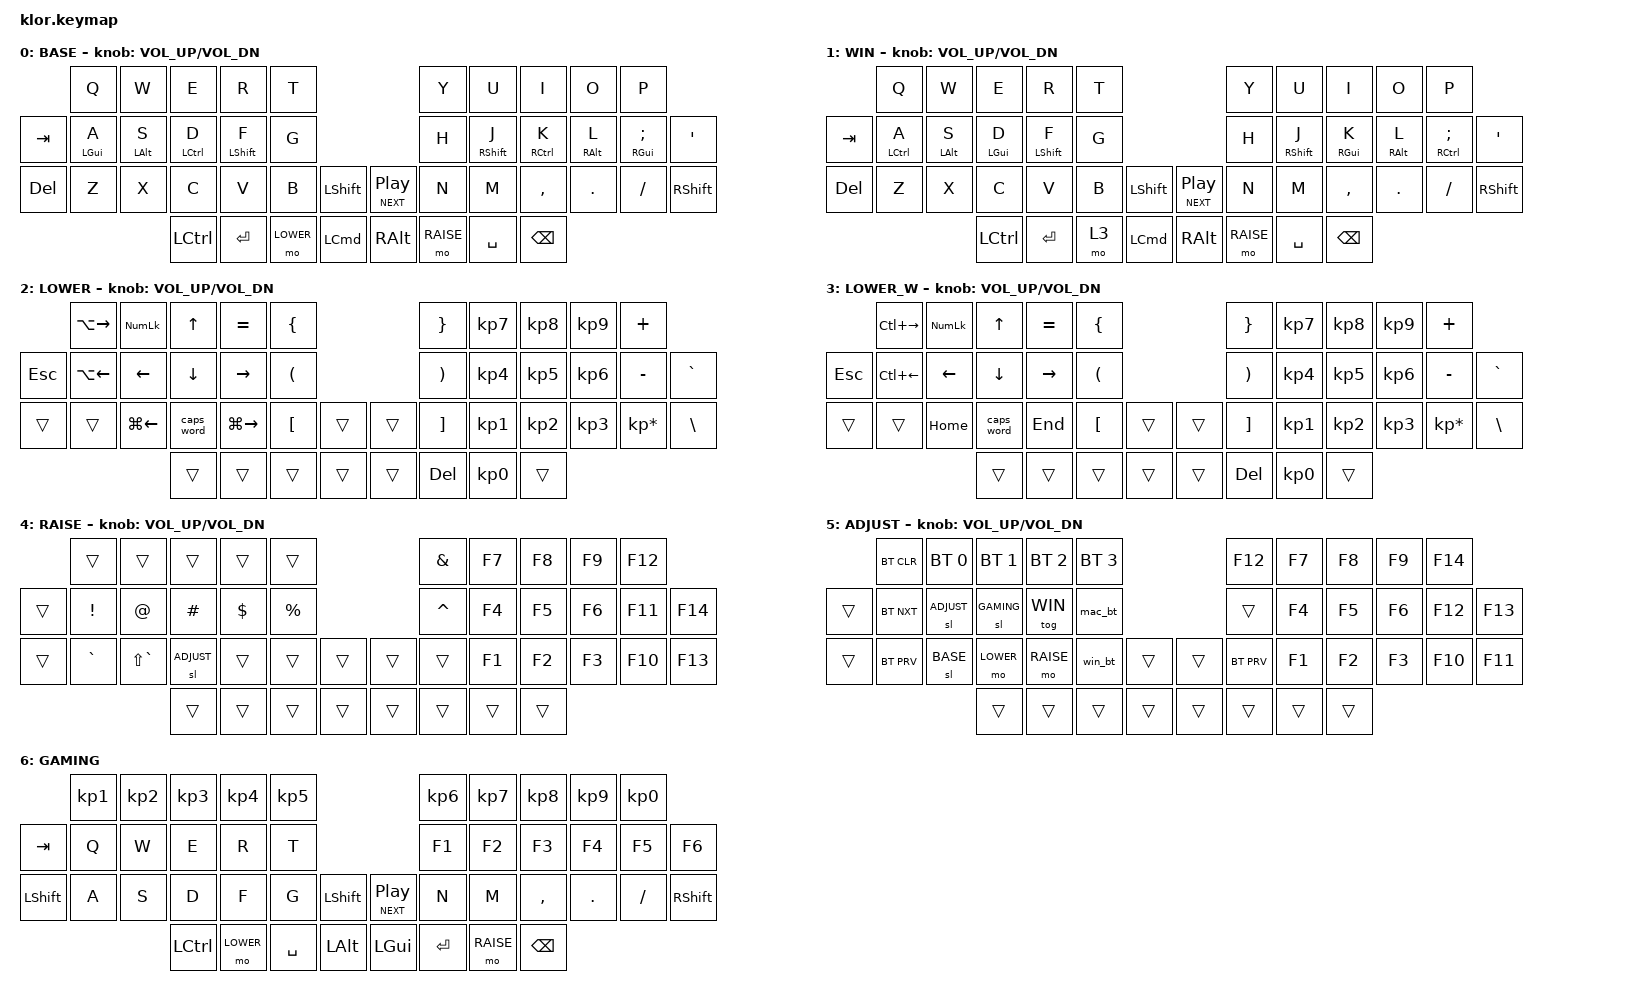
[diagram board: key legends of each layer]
//                               █         █    █            ▄▄▄▀▀▀▀▀▀▄▄▄        █▀▀▀▀▀▀▀▀▀▀█
//                               █        █     █          ▄▀            ▀▄      █          █
//                               █       █      █        ▄▀                ▀▄    █          █
//                               █      █       █        █                  █    █          █
//                               █     █        █       █                    █   █          █
//                               █    █         █       █                    █   █▄▄▄▄▄▄▄▄▄▄█
//                               █   █ █        █       █                    █   █      █
//                               █  █   █       █        █                  █    █       █
//                               █ █     █      █        ▀▄                ▄▀    █        █
//                               ██       █     █          ▀▄            ▄▀      █         █
//                               █         █    █▄▄▄▄▄▄▄▄    ▀▀▀▄▄▄▄▄▄▀▀▀        █          █
//
// ▄▄▄▄▄▄▄▄▄▄▄▄▄▄▄▄▄▄▄▄▄▄▄▄▄▄▄▄▄▄▄▄▄▄▄▄▄▄▄▄▄▄▄▄▄▄▄▄▄▄▄▄▄▄▄▄▄▄▄▄▄▄▄▄▄▄▄▄▄▄▄▄▄▄▄▄▄▄▄▄▄▄▄▄▄▄▄▄▄▄▄▄▄▄▄▄▄▄▄▄▄▄▄▄▄▄▄▄▄▄▄▄▄▄▄▄▄▄▄▄▄▄▄▄▄

#include <behaviors.dtsi>
#include <dt-bindings/zmk/bt.h>
#include <dt-bindings/zmk/keys.h>

#define BASE   0
#define WIN    1
#define LOWER  2
#define LOWERW 3
#define RAISE  4
#define ADJUST 5
#define GAMING 6

/ {
    macros {
        mac_bt: mac_bt {
            label = "mac_bt";
            compatible = "zmk,behavior-macro";
            #binding-cells = <0>;
            bindings =
                <&macro_tap>,
                <&bt BT_SEL 2>,
                <&macro_tap>,
                <&tog BASE>;
        };
        win_bt: win_bt {
            label = "win_bt";
            compatible = "zmk,behavior-macro";
            #binding-cells = <0>;
            bindings =
                <&macro_tap>,
                <&bt BT_SEL 1>,
                <&macro_tap>,
                <&tog WIN>;
        };
    };

    conditional_layers {
        compatible = "zmk,conditional-layers";

        tri_layer {
            if-layers = <LOWER RAISE>;
            then-layer = <ADJUST>;
        };

        triW_layer_ {
            if-layers = <LOWERW RAISE>;
            then-layer = <ADJUST>;
        };
    };

    behaviors {
        hm: homerow_mods {
            compatible = "zmk,behavior-hold-tap";
            label = "HOMEROW_MODS";
            #binding-cells = <2>;
            tapping-term-ms = <200>;
            quick_tap_ms = <0>;
            flavor = "tap-preferred";
            bindings =
                <&kp>,
                <&kp>;
        };
    };

    combos {
        compatible = "zmk,combos";

        combo_esc {
            timeout-ms = <50>;
            key-positions = <10 0>;
            bindings = <&kp ESC>;
        };

        combo_underscore {
            timeout-ms = <50>;
            bindings = <&kp UNDER>;
            key-positions = <23 24>;
        };

        combo_ae {
            bindings = <&kp RA(Q)>;
            key-positions = <0 1>;
        };

        combo_oe {
            bindings = <&kp RA(P)>;
            key-positions = <8 9>;
        };

        combo_ue {
            bindings = <&kp RA(Y)>;
            key-positions = <6 7>;
        };

        combo_ss {
            bindings = <&kp RA(S)>;
            key-positions = <24 25>;
        };
    };

    keymap {
        compatible = "zmk,keymap";

        // ▄▄▄▄▄▄▄▄▄▄▄▄▄▄▄▄▄▄▄▄▄▄▄▄▄▄▄▄▄▄▄▄▄▄▄▄▄▄▄▄▄▄▄▄▄▄▄▄▄▄▄▄▄▄▄▄▄▄▄▄▄▄▄▄▄▄▄▄▄▄▄▄▄▄▄▄▄▄▄▄▄▄▄▄▄▄▄▄▄▄▄▄▄▄▄▄▄▄▄▄▄▄▄▄▄▄▄▄▄▄▄▄▄▄▄▄▄▄▄▄▄▄▄▄▄▄▄▄▄▄▄▄▄▄▄▄▄▄▄▄▄▄

        base_layer {
            // ┌───────────────────────────────────────────────────────────┐

            label = "BASE";

            // └───────────────────────────────────────────────────────────┘
            /*
             ┌─────────┬─────────┬─────────┬─────────┬─────────┐                    ┌─────────┬─────────┬─────────┬─────────┬─────────┐
             │    Q    │    W    │    E    │    R    │    T    │                    │    Y    │    U    │    I    │    O    │    P    │
   ┌─────────┼─────────┼─────────┼─────────┼─────────┼─────────┤                    ├─────────┼─────────┼─────────┼─────────┼─────────┼─────────┐
   │   TAB   │    A    │    S    │    D    │    F    │    G    │                    │    H    │    J    │    K    │    L    │    ;    │    "    │
   ├─────────┼─────────┼─────────┼─────────┼─────────┼─────────┤╭────────╮╭────────╮├─────────┼─────────┼─────────┼─────────┼─────────┼─────────┤
   │   DEL   │    Z    │    X    │    C    │    V    │    B    ││  MUTE  ││PLY/PSE ││    N    │    M    │    ,    │    .    │    /    │  SHIFT  │
   └─────────┴─────────┴─────────┼─────────┼─────────┼─────────┼╰────────╯╰────────╯┼─────────┼─────────┼─────────┼─────────┴─────────┴─────────┘
                                 │  CTRL   │  LOWER  │  SPACE  │   ALT   ││ CMD/WIN │  ENTER  │  RAISE  │  BSPCE  │
                                 └─────────┴─────────┴─────────┴─────────┘└─────────┴─────────┴─────────┴─────────┘ */

            bindings = <
                  &kp Q           &kp W        &kp E        &kp R      &kp T                                         &kp Y        &kp U        &kp I            &kp O               &kp P
&kp TAB  &hm LEFT_GUI A  &hm LEFT_ALT S  &hm LCTRL D  &hm LSHFT F      &kp G                                         &kp H  &hm RSHFT J  &hm RCTRL K  &hm RIGHT_ALT L  &hm RIGHT_GUI SEMI    &kp SQT
&kp DEL           &kp Z           &kp X        &kp C        &kp V      &kp B        &kp LSHIFT  &hm C_NEXT C_PP      &kp N        &kp M    &kp COMMA          &kp DOT            &kp FSLH  &kp RSHFT
                                           &kp LCTRL    &kp ENTER  &mo LOWER  &kp LEFT_COMMAND         &kp RALT  &mo RAISE    &kp SPACE     &kp BSPC
            >;

            sensor-bindings = <&inc_dec_kp C_VOL_UP C_VOL_DN>;
        };

        // ▄▄▄▄▄▄▄▄▄▄▄▄▄▄▄▄▄▄▄▄▄▄▄▄▄▄▄▄▄▄▄▄▄▄▄▄▄▄▄▄▄▄▄▄▄▄▄▄▄▄▄▄▄▄▄▄▄▄▄▄▄▄▄▄▄▄▄▄▄▄▄▄▄▄▄▄▄▄▄▄▄▄▄▄▄▄▄▄▄▄▄▄▄▄▄▄▄▄▄▄▄▄▄▄▄▄▄▄▄▄▄▄▄▄▄▄▄▄▄▄▄▄▄▄▄▄▄▄▄▄▄▄▄▄▄▄▄▄▄▄▄▄

        win_layer {
            // ┌───────────────────────────────────────────────────────────┐

            label = "WIN";

            // └───────────────────────────────────────────────────────────┘
            /*
                     ┌─────────┬─────────┬─────────┬─────────┬─────────┐                    ┌─────────┬─────────┬─────────┬─────────┬─────────┐
                     │    Q    │    W    │    E    │    R    │    T    │                    │    Y    │    U    │    I    │    O    │    P    │
           ┌─────────┼─────────┼─────────┼─────────┼─────────┼─────────┤                    ├─────────┼─────────┼─────────┼─────────┼─────────┼─────────┐
           │   TAB   │    A    │    S    │    D    │    F    │    G    │                    │    H    │    J    │    K    │    L    │    ;    │    "    │
           ├─────────┼─────────┼─────────┼─────────┼─────────┼─────────┤╭────────╮╭────────╮├─────────┼─────────┼─────────┼─────────┼─────────┼─────────┤
           │   DEL   │    Z    │    X    │    C    │    V    │    B    ││  MUTE  ││PLY/PSE ││    N    │    M    │    ,    │    .    │    /    │  SHIFT  │
           └─────────┴─────────┴─────────┼─────────┼─────────┼─────────┼╰────────╯╰────────╯┼─────────┼─────────┼─────────┼─────────┴─────────┴─────────┘
                                         │  CTRL   │  LOWER  │  SPACE  │   ALT   ││ CMD/WIN │  ENTER  │  RAISE  │  BSPCE  │
                                         └─────────┴─────────┴─────────┴─────────┘└─────────┴─────────┴─────────┴─────────┘ */

            bindings = <
               &kp Q       &kp W       &kp E        &kp R  &kp T                                         &kp Y        &kp U       &kp I       &kp O           &kp P
&kp TAB  &hm LCTRL A  &hm LALT S  &hm LGUI D  &hm LSHFT F  &kp G                                         &kp H  &hm RSHFT J  &hm RGUI K  &hm RALT L  &hm RCTRL SEMI    &kp SQT
&kp DEL        &kp Z       &kp X       &kp C        &kp V  &kp B        &kp LSHIFT  &hm C_NEXT C_PP      &kp N        &kp M   &kp COMMA     &kp DOT        &kp FSLH  &kp RSHFT
                                   &kp LCTRL    &kp ENTER  &mo 3  &kp LEFT_COMMAND         &kp RALT  &mo RAISE    &kp SPACE    &kp BSPC
            >;

            sensor-bindings = <&inc_dec_kp C_VOL_UP C_VOL_DN>;
        };

        // ▄▄▄▄▄▄▄▄▄▄▄▄▄▄▄▄▄▄▄▄▄▄▄▄▄▄▄▄▄▄▄▄▄▄▄▄▄▄▄▄▄▄▄▄▄▄▄▄▄▄▄▄▄▄▄▄▄▄▄▄▄▄▄▄▄▄▄▄▄▄▄▄▄▄▄▄▄▄▄▄▄▄▄▄▄▄▄▄▄▄▄▄▄▄▄▄▄▄▄▄▄▄▄▄▄▄▄▄▄▄▄▄▄▄▄▄▄▄▄▄▄▄▄▄▄▄▄▄▄▄▄▄▄▄▄▄▄▄▄▄▄▄

        lower_layer {
            // ┌───────────────────────────────────────────────────────────┐

            label = "LOWER";

            // └───────────────────────────────────────────────────────────┘
            /*
             ┌─────────┬─────────┬─────────┬─────────┬─────────┐                    ┌─────────┬─────────┬─────────┬─────────┬─────────┐
             │  PG_UP  │ NUMLCK  │    UP   │    =    │    {    │                    │    }    │    7    │    8    │    9    │    +    │
   ┌─────────┼─────────┼─────────┼─────────┼─────────┼─────────┤                    ├─────────┼─────────┼─────────┼─────────┼─────────┼─────────┐
   │  ESC    │  PG_DN  │  LEFT   │  DOWN   │  RIGHT  │    [    │                    │    ]    │    4    │    5    │    6    │    -    │    `    │
   ├─────────┼─────────┼─────────┼─────────┼─────────┼─────────┤╭────────╮╭────────╮├─────────┼─────────┼─────────┼─────────┼─────────┼─────────┤
   │         │         │   BOL   │ C_WORD  │   EOL   │    (    ││        ││        ││    )    │    1    │    2    │    3    │    *    │    \    │
   └─────────┴─────────┴─────────┼─────────┼─────────┼─────────┼╰────────╯╰────────╯┼─────────┼─────────┼─────────┼─────────┴─────────┴─────────┘
                                 │         │         │         │         ││         │   DEL   │    0    │         │
                                 └─────────┴─────────┴─────────┴─────────┘└─────────┴─────────┴─────────┴─────────┘ */

            bindings = <
         &kp LA(RIGHT)  &kp KP_NUMLOCK      &kp UP      &kp EQUAL          &kp LBRC                           &kp RBRC  &kp KP_N7  &kp KP_N8  &kp KP_N9         &kp PLUS
&kp ESC   &kp LA(LEFT)        &kp LEFT    &kp DOWN      &kp RIGHT          &kp LPAR                           &kp RPAR  &kp KP_N4  &kp KP_N5  &kp KP_N6        &kp MINUS      &kp GRAVE
 &trans         &trans    &kp LG(LEFT)  &caps_word  &kp LG(RIGHT)  &kp LEFT_BRACKET  &trans  &trans  &kp RIGHT_BRACKET  &kp KP_N1  &kp KP_N2  &kp KP_N3  &kp KP_MULTIPLY  &kp BACKSLASH
                                            &trans         &trans            &trans  &trans  &trans         &kp DELETE  &kp KP_N0     &trans
            >;

            sensor-bindings = <&inc_dec_kp C_VOL_UP C_VOL_DN>;
        };

        // ▄▄▄▄▄▄▄▄▄▄▄▄▄▄▄▄▄▄▄▄▄▄▄▄▄▄▄▄▄▄▄▄▄▄▄▄▄▄▄▄▄▄▄▄▄▄▄▄▄▄▄▄▄▄▄▄▄▄▄▄▄▄▄▄▄▄▄▄▄▄▄▄▄▄▄▄▄▄▄▄▄▄▄▄▄▄▄▄▄▄▄▄▄▄▄▄▄▄▄▄▄▄▄▄▄▄▄▄▄▄▄▄▄▄▄▄▄▄▄▄▄▄▄▄▄▄▄▄▄▄▄▄▄▄▄▄▄▄▄▄▄▄

        lowerW_layer {
            // ┌───────────────────────────────────────────────────────────┐

            label = "LOWER_W";

            // └───────────────────────────────────────────────────────────┘
            /*
             ┌─────────┬─────────┬─────────┬─────────┬─────────┐                    ┌─────────┬─────────┬─────────┬─────────┬─────────┐
             │  NXT_W  │ NUMLCK  │    UP   │    =    │    {    │                    │    }    │    7    │    8    │    9    │    +    │
   ┌─────────┼─────────┼─────────┼─────────┼─────────┼─────────┤                    ├─────────┼─────────┼─────────┼─────────┼─────────┼─────────┐
   │  ESC    │  PRV_W  │  LEFT   │  DOWN   │  RIGHT  │    [    │                    │    ]    │    4    │    5    │    6    │    -    │    `    │
   ├─────────┼─────────┼─────────┼─────────┼─────────┼─────────┤╭────────╮╭────────╮├─────────┼─────────┼─────────┼─────────┼─────────┼─────────┤
   │         │         │   HOME  │ C_WORD  │   END   │    (    ││        ││        ││    )    │    1    │    2    │    3    │    *    │    \    │
   └─────────┴─────────┴─────────┼─────────┼─────────┼─────────┼╰────────╯╰────────╯┼─────────┼─────────┼─────────┼─────────┴─────────┴─────────┘
                                 │         │         │         │         ││         │   DEL   │    0    │         │
                                 └─────────┴─────────┴─────────┴─────────┘└─────────┴─────────┴─────────┴─────────┘ */

            bindings = <
         &kp LC(RIGHT)  &kp KP_NUMLOCK      &kp UP  &kp EQUAL          &kp LBRC                           &kp RBRC  &kp KP_N7  &kp KP_N8  &kp KP_N9         &kp PLUS
&kp ESC   &kp LC(LEFT)        &kp LEFT    &kp DOWN  &kp RIGHT          &kp LPAR                           &kp RPAR  &kp KP_N4  &kp KP_N5  &kp KP_N6        &kp MINUS      &kp GRAVE
 &trans         &trans        &kp HOME  &caps_word    &kp END  &kp LEFT_BRACKET  &trans  &trans  &kp RIGHT_BRACKET  &kp KP_N1  &kp KP_N2  &kp KP_N3  &kp KP_MULTIPLY  &kp BACKSLASH
                                            &trans     &trans            &trans  &trans  &trans         &kp DELETE  &kp KP_N0     &trans
            >;

            sensor-bindings = <&inc_dec_kp C_VOL_UP C_VOL_DN>;
        };

        // ▄▄▄▄▄▄▄▄▄▄▄▄▄▄▄▄▄▄▄▄▄▄▄▄▄▄▄▄▄▄▄▄▄▄▄▄▄▄▄▄▄▄▄▄▄▄▄▄▄▄▄▄▄▄▄▄▄▄▄▄▄▄▄▄▄▄▄▄▄▄▄▄▄▄▄▄▄▄▄▄▄▄▄▄▄▄▄▄▄▄▄▄▄▄▄▄▄▄▄▄▄▄▄▄▄▄▄▄▄▄▄▄▄▄▄▄▄▄▄▄▄▄▄▄▄

        raise_layer {
            // ┌───────────────────────────────────────────────────────────┐

            label = "RAISE";

            // └───────────────────────────────────────────────────────────┘
            /*
             ┌─────────┬─────────┬─────────┬─────────┬─────────┐                    ┌─────────┬─────────┬─────────┬─────────┬─────────┐
             │         │         │         │         │         │                    │   &     │   F7    │   F8    │   F9    │  F12    │
   ┌─────────┼─────────┼─────────┼─────────┼─────────┼─────────┤                    ├─────────┼─────────┼─────────┼─────────┼─────────┼─────────┐
   │         │   !     │    @    │    #    │   $     │   %     │                    │   ˆ     │   F4    │   F5    │   F6    │  F11    │   F14   │
   ├─────────┼─────────┼─────────┼─────────┼─────────┼─────────┤╭────────╮╭────────╮├─────────┼─────────┼─────────┼─────────┼─────────┼─────────┤
   │         │   §     │    ±    │  ADJUST │         │         ││        ││        ││         │   F1    │   F2    │   F3    │  F10    │   F13   │
   └─────────┴─────────┴─────────┼─────────┼─────────┼─────────┼╰────────╯╰────────╯┼─────────┼─────────┼─────────┼─────────┴─────────┴─────────┘
                                 │         │         │         │         ││         │         │         │         │
                                 └─────────┴─────────┴─────────┴─────────┘└─────────┴─────────┴─────────┴─────────┘ */

            bindings = <
           &trans         &trans      &trans      &trans       &trans                   &kp AMPS  &kp F7  &kp F8  &kp F9  &kp F12
&trans   &kp EXCL         &kp AT    &kp HASH  &kp DOLLAR  &kp PERCENT                  &kp CARET  &kp F4  &kp F5  &kp F6  &kp F11  &kp F14
&trans  &kp GRAVE  &kp LS(GRAVE)  &sl ADJUST      &trans       &trans  &trans  &trans     &trans  &kp F1  &kp F2  &kp F3  &kp F10  &kp F13
                                      &trans      &trans       &trans  &trans  &trans     &trans  &trans  &trans
            >;

            sensor-bindings = <&inc_dec_kp C_VOL_UP C_VOL_DN>;
        };

        // ▄▄▄▄▄▄▄▄▄▄▄▄▄▄▄▄▄▄▄▄▄▄▄▄▄▄▄▄▄▄▄▄▄▄▄▄▄▄▄▄▄▄▄▄▄▄▄▄▄▄▄▄▄▄▄▄▄▄▄▄▄▄▄▄▄▄▄▄▄▄▄▄▄▄▄▄▄▄▄▄▄▄▄▄▄▄▄▄▄▄▄▄▄▄▄▄▄▄▄▄▄▄▄▄▄▄▄▄▄▄▄▄▄▄▄▄▄▄▄▄▄▄▄▄▄

        adjust_layer {
            // ┌───────────────────────────────────────────────────────────┐

            label = "ADJUST";

            // └───────────────────────────────────────────────────────────┘
            /*
             ┌─────────┬─────────┬─────────┬─────────┬─────────┐                    ┌─────────┬─────────┬─────────┬─────────┬─────────┐
             │  BT_CLR │BT_SEL 0 │BT_SEL 1 │BT_SEL 2 │BT_SEL 3 │                    │         │         │         │         │         │
   ┌─────────┼─────────┼─────────┼─────────┼─────────┼─────────┤                    ├─────────┼─────────┼─────────┼─────────┼─────────┼─────────┐
   │         │  BT_NXT │ ADJUST  │  GAMING │ OS_TOGL │  MAC_BT │                    │         │         │         │         │         │         │
   ├─────────┼─────────┼─────────┼─────────┼─────────┼─────────┤╭────────╮╭────────╮├─────────┼─────────┼─────────┼─────────┼─────────┼─────────┤
   │         │  BT_PRV │  BASE   │  LOWER  │  RAISE  │  WIN_BT ││        ││        ││         │         │         │         │         │         │
   └─────────┴─────────┴─────────┼─────────┼─────────┼─────────┼╰────────╯╰────────╯┼─────────┼─────────┼─────────┼─────────┴─────────┴─────────┘
                                 │         │         │         │         ││         │         │         │         │
                                 └─────────┴─────────┴─────────┴─────────┘└─────────┴─────────┴─────────┴─────────┘ */

            bindings = <
        &bt BT_CLR  &bt BT_SEL 0  &bt BT_SEL 1  &bt BT_SEL 2  &bt BT_SEL 3                     &kp F12  &kp F7  &kp F8  &kp F9  &kp F14
&trans  &bt BT_NXT    &sl ADJUST    &sl GAMING      &tog WIN       &mac_bt                      &trans  &kp F4  &kp F5  &kp F6  &kp F12  &kp F13
&trans  &bt BT_PRV      &sl BASE     &mo LOWER     &mo RAISE       &win_bt  &trans  &trans  &bt BT_PRV  &kp F1  &kp F2  &kp F3  &kp F10  &kp F11
                                        &trans        &trans        &trans  &trans  &trans      &trans  &trans  &trans
            >;

            sensor-bindings = <&inc_dec_kp C_VOL_UP C_VOL_DN>;
        };

        gaming_layer {
            // ┌───────────────────────────────────────────────────────────┐

            label = "GAMING";

            // └───────────────────────────────────────────────────────────┘
            /*
                         ┌─────────┬─────────┬─────────┬─────────┬─────────┐                    ┌─────────┬─────────┬─────────┬─────────┬─────────┐
                         │    1    │    2    │    3    │    4    │    5    │                    │    6    │    7    │    8    │    9    │    0    │
               ┌─────────┼─────────┼─────────┼─────────┼─────────┼─────────┤                    ├─────────┼─────────┼─────────┼─────────┼─────────┼─────────┐
               │   TAB   │    Q    │    W    │    E    │    R    │    T    │                    │    F1   │    F2   │    F3   │    F4   │    F5   │    F6   │
               ├─────────┼─────────┼─────────┼─────────┼─────────┼─────────┤╭────────╮╭────────╮├─────────┼─────────┼─────────┼─────────┼─────────┼─────────┤
               │  SHIFT  │    A    │    S    │    D    │    F    │    G    ││  MUTE  ││PLY/PSE ││    N    │    M    │    ,    │    .    │    /    │  SHIFT  │
               └─────────┴─────────┴─────────┼─────────┼─────────┼─────────┼╰────────╯╰────────╯┼─────────┼─────────┼─────────┼─────────┴─────────┴─────────┘
                                             │  CTRL   │  LOWER  │  SPACE  │   ALT   ││ CMD/WIN │  ENTER  │  RAISE  │  BSPCE  │
                                             └─────────┴─────────┴─────────┴─────────┘└─────────┴─────────┴─────────┴─────────┘ */

            bindings = <
            &kp KP_N1  &kp KP_N2  &kp KP_NUMBER_3  &kp KP_NUMBER_4  &kp KP_NUMBER_5                               &kp KP_N6  &kp KP_N7  &kp KP_N8  &kp KP_N9  &kp KP_N0
   &kp TAB      &kp Q      &kp W            &kp E            &kp R            &kp T                                  &kp F1     &kp F2     &kp F3     &kp F4     &kp F5     &kp F6
&kp LSHIFT      &kp A      &kp S            &kp D            &kp F            &kp G  &kp LSHIFT  &hm C_NEXT C_PP      &kp N      &kp M  &kp COMMA    &kp DOT   &kp FSLH  &kp RSHFT
                                        &kp LCTRL        &mo LOWER        &kp SPACE    &kp LALT         &kp LGUI    &kp RET  &mo RAISE   &kp BSPC
            >;
        };
    };
};
